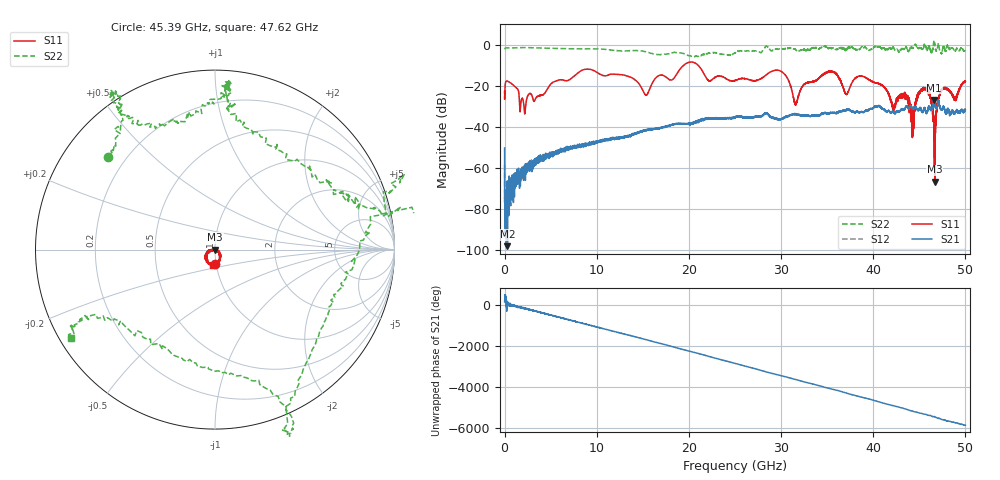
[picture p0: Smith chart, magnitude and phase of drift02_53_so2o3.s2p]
!Created with skrf (http://scikit-rf.org).
# Hz S RI R 50.0
!freq ReS11 ImS11 ReS21 ImS21 ReS12 ImS12 ReS22 ImS22
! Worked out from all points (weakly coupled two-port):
!   10001 points, 300 kHz to 50 GHz, reference 50 ohm
!   highest |S21| = -26.89 dB at 46.6 GHz (marker M1); lowest = -98.2 dB at 310.3 MHz (marker M2)
!   lowest |S11| = -66.8 dB at 46.68 GHz (marker M3), VSWR 1.00, Z = 50 + j0.0419 ohm
!   |S11| at or under -10 dB: start of sweep to 19.42 GHz; 21.01 GHz to end of sweep
!   |S22| runs from -5.7 to 2.2 dB; largest |S21 - S12| = 0.0042
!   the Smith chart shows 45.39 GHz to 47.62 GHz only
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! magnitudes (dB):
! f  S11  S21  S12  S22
! 300 kHz  -22.8  -50.3  -58.5  -2.1
! 310.3 MHz  -17.6  -98.2  -73.2  -1.4
! 2.175 GHz  -33.5  -62.3  -61.6  -1.3
! 8.335 GHz  -12.5  -49.3  -49.5  -1.9
! 15.34 GHz  -24.6  -41.8  -41.5  -3.4
! 16.67 GHz  -15.1  -40.8  -41.0  -4.7
! 20.3 GHz  -8.4  -38.4  -38.2  -5.5
! 25 GHz  -17.4  -35.5  -35.6  -3.9
! 29.83 GHz  -12.6  -36.5  -36.5  -2.0
! 31.59 GHz  -29.1  -33.9  -33.9  -2.4
! 33.34 GHz  -18.0  -34.4  -34.5  -1.5
! 35.62 GHz  -13.2  -33.4  -33.2  -1.6
! 37.1 GHz  -24.1  -31.9  -31.8  -2.2
! 38.76 GHz  -15.2  -32.7  -32.6  -1.0
! 41.67 GHz  -23.9  -32.2  -32.3  -1.9
! 43.52 GHz  -24.8  -30.3  -30.4  -1.2
! 44.25 GHz  -45.2  -31.0  -31.1  -1.3
! 45.72 GHz  -21.7  -32.4  -32.7  -1.0
! 46.6 GHz  -46.4  -26.9  -27.0  2.0
! 46.68 GHz  -66.8  -28.7  -28.6  0.1
! 47.47 GHz  -21.6  -31.9  -31.6  -3.5
! 50 GHz  -17.8  -31.8  -31.7  -2.7
